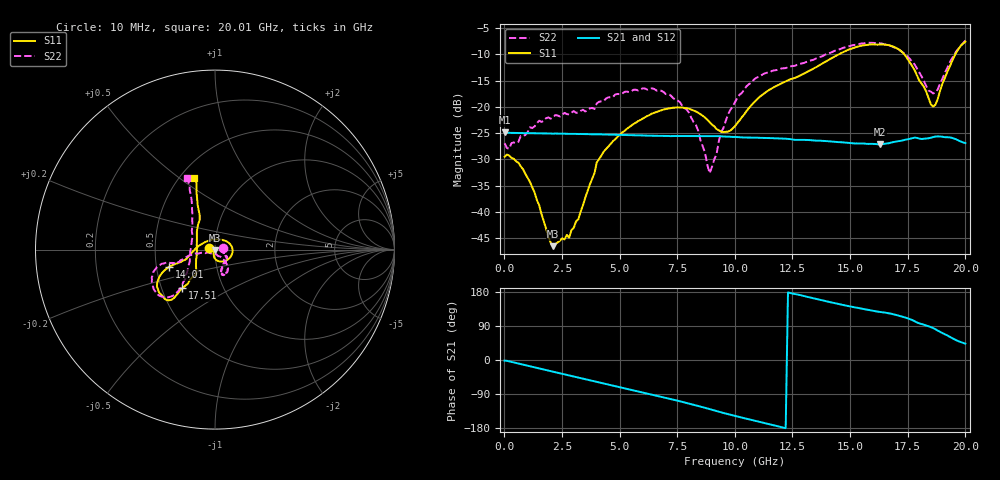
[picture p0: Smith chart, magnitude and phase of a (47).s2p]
! Hittite Microwave Corporation
! 2 Elizabeth Drive
! Chelmsford, MA 01824
! http://www.hittite.com
! Tel: 978-250-3343
! Fax: 978-250-3373
! Device:  HMC424LP3
! Description: 0.5 dB GaAs MMIC 6-Bit Digital Attenuator
! Frequency:  DC -  13.00 GHz
! Package:  LP3  - 3x3 mm Quad Flatpack No-Lead (QFN) Plastic Package: 16 pin
! Ports:  2 RF, 7 DC
!  Pad  1  = Ground
!  Pad  2  = RF IN  = Port 1
!  Pad  3  = Ground
!  Pad  4  = V6
!  Pad  5  = V5
!  Pad  6  = V4
!  Pad  7  = V3
!  Pad  8  = V2
!  Pad  9  = V1
!  Pad 10  = Ground
!  Pad 11  = RF OUT  = Port 2
!  Pad 12  = Ground
!  Pad 15  = VEE
! Control:  -5 Volt control voltage
! State:  45
! Attenuation:  22.5 dB
! Voltages:  Vdd = -5.00 Volts  Idd =  -2.523 mA
!  V1  = -5.00 Volts  I1  =  -1.0 uA
!  V2  = 0.00 Volts  I2  =  29.0 uA
!  V3  = -5.00 Volts  I3  =  -1.0 uA
!  V4  = -5.00 Volts  I4  =  -1.0 uA
!  V5  = 0.00 Volts  I5  =  29.0 uA
!  V6  = -5.00 Volts  I6  =  -1.0 uA
! Data:  The device was measured on evaluation board 105354-1.
!  Data was collected using a calibrated network analyzer.
!  The evaluation circuit board was modeled and simulated.  This was use
!  to removed the evaluation board circuit from the measured data.
!  The reference plane is the edge of the package pin.
! Misc:  Lot xxxx, Unit 1
!  Application 20120001, Data collected in Application 20090083
! Date Measured:  2009-09-15
! Date:  2012-05-14  MJV
! Note:
!  Hittite supplies this data as a sample of measured data at the package pin
!  for this product.  Your particular data for this product may vary.
!  Data was taken at 25 degrees C.
!  Hittite reserves the right to change this data at anytime.
# GHz S MA R 50
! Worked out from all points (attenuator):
!   201 points, 10 MHz to 20.01 GHz, reference 50 ohm
!   highest |S21| = -24.88 dB at 10 MHz (marker M1); lowest = -27.2 dB at 16.31 GHz (marker M2)
!   lowest |S11| = -46.5 dB at 2.11 GHz (marker M3), VSWR 1.01, Z = 50 - j0.469 ohm
!   |S11| at or under -10 dB: start of sweep to 14.52 GHz; 17.35 GHz to 19.57 GHz (2.221 GHz wide, 12 % of centre)
!   |S22| runs from -32.7 to -7.4 dB; largest |S21 - S12| = 0.0013
!   S11 on the Smith chart (normalised r, x): 10 MHz: 0.94, +0.01; 14.01 GHz: 0.58, -0.12; 17.51 GHz: 0.64, -0.30; 20.01 GHz: 0.59, +0.57
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0.01  0.03342 167.0  0.05701 -1.8  0.05627 -0.6  0.04505 7.9
0.21  0.03431 -179.7  0.05654 -3.6  0.05647 -3.7  0.03987 -7.7
1.11  0.01922 -162.7  0.05608 -16.7  0.05595 -16.7  0.06389 -27.2
2.11  0.004711 -84.7  0.05551 -30.8  0.05554 -30.8  0.07892 -36.3
2.81  0.005672 -68.5  0.05522 -40.7  0.05521 -40.7  0.08463 -44.4
3.41  0.01152 -104.7  0.05496 -49.3  0.05495 -49.2  0.09372 -54.1
4.31  0.03743 -99.8  0.05448 -61.8  0.05444 -62.0  0.1128 -71.6
6.71  0.09088 -35.9  0.05298 -95.6  0.05281 -95.6  0.144 -63.5
8.01  0.09595 7.9  0.05257 -115.1  0.05248 -115.1  0.08814 -48.6
8.41  0.08786 22.6  0.05253 -121.3  0.05239 -121.3  0.0594 -49.3
8.91  0.07128 46.5  0.05257 -129.6  0.05253 -129.7  0.0233 -102.7
9.41  0.05804 84.0  0.05242 -138.2  0.05233 -138.3  0.05712 -159.3
10.01  0.06533 136.6  0.05165 -147.6  0.05151 -147.7  0.1108 -168.6
11.21  0.1308 -172.3  0.05058 -165.3  0.05052 -165.2  0.2036 -162.6
13.41  0.2304 -160.2  0.04784 162.9  0.04771 163.0  0.2798 -164.8
14.01  0.2749 -159.4  0.04708 154.4  0.04687 154.4  0.3179 -164.3
16.31  0.3915 -137.0  0.04384 126.8  0.04384 126.8  0.4023 -140.4
16.71  0.3849 -132.7  0.0451 123.0  0.04505 122.9  0.3841 -135.9
17.51  0.2833 -130.3  0.04905 109.9  0.04903 109.8  0.299 -131.6
18.61  0.1004 -178.8  0.05147 84.2  0.05146 84.2  0.1341 174.2
19.51  0.2969 109.6  0.04992 55.3  0.04995 55.3  0.3107 114.9
20.01  0.4176 105.9  0.04511 43.1  0.04512 43.1  0.4281 111.3
